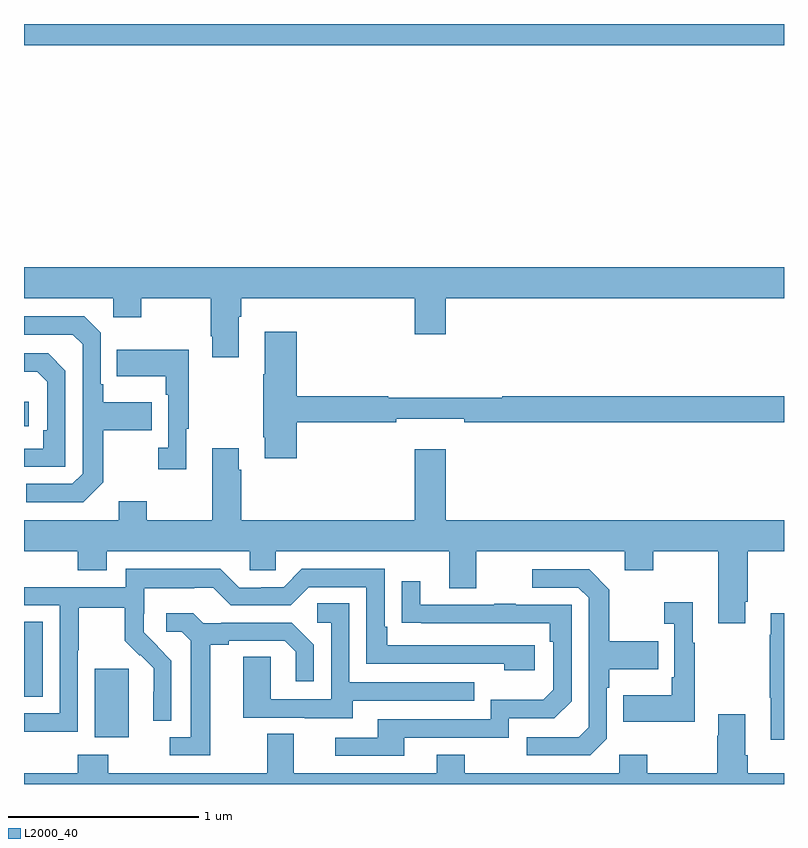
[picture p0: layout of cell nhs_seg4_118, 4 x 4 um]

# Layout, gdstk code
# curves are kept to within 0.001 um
import gdstk
lib = gdstk.Library(unit=1e-6, precision=1e-09)
def R(c, l, rs):  # rectangles x0, y0, x1, y1
    for r in rs: c.add(gdstk.rectangle(r[:2], r[2:], *l))
def P(c, l, *ps):  # polygons
    for p in ps: c.add(gdstk.Polygon(p, *l))
L2000_40 = (2000, 40)

nhs_seg4_118 = lib.new_cell('nhs_seg4_118')
R(nhs_seg4_118, L2000_40, [(115.373,825.146,115.552,825.507), (115,825.358,115.099,825.755), (115,826.782,115.024,826.912), (115,828.788,119,828.9)])
P(nhs_seg4_118, L2000_40, [(116.131,827.36),(116.144,827.36),(116.144,827.456),(117.056,827.456),(117.056,827.268),(117.22,827.268),(117.22,827.456),(119,827.456),(119,827.62),(115,827.62),(115,827.456),(115.47,827.456),(115.47,827.357),(115.617,827.357),(115.617,827.456),(115.984,827.456),(115.984,827.257),(115.991,827.257),(115.991,827.145),(116.131,827.145)],
  [(115.417,826.489),(115.417,826.762),(115.673,826.762),(115.673,826.909),(115.417,826.909),(115.417,827.005),(115.404,827.005),(115.404,827.274),(115.317,827.361),(115,827.361),(115,827.265),(115.257,827.265),(115.308,827.214),(115.308,826.533),(115.254,826.479),(115.011,826.479),(115.011,826.383),(115.311,826.383)],
  [(116.435,826.804),(116.96,826.804),(116.96,826.823),(117.316,826.823),(117.316,826.804),(119,826.804),(119,826.94),(117.518,826.94),(117.518,826.933),(116.918,826.933),(116.918,826.94),(116.435,826.94),(116.435,827.281),(116.267,827.281),(116.267,827.057),(116.26,827.057),(116.26,826.726),(116.267,826.726),(116.267,826.614),(116.435,826.614)],
  [(115.855,826.769),(115.867,826.769),(115.867,827.185),(115.489,827.185),(115.489,827.045),(115.746,827.045),(115.746,826.949),(115.758,826.949),(115.758,826.67),(115.707,826.67),(115.707,826.557),(115.855,826.557)],
  [(115.218,827.076),(115.128,827.166),(115,827.166),(115,827.069),(115.069,827.069),(115.122,827.016),(115.122,826.762),(115.102,826.762),(115.102,826.665),(115,826.665),(115,826.569),(115.218,826.569)],
  [(118.795,825.859),(118.808,825.859),(118.808,826.124),(119,826.124),(119,826.288),(117.22,826.288),(117.22,826.663),(117.056,826.663),(117.056,826.288),(116.144,826.288),(116.144,826.553),(116.131,826.553),(116.131,826.666),(115.991,826.666),(115.991,826.288),(115.647,826.288),(115.647,826.387),(115.499,826.387),(115.499,826.288),(115,826.288),(115,826.124),(115.283,826.124),(115.283,826.025),(115.435,826.025),(115.435,826.124),(116.187,826.124),(116.187,826.026),(116.325,826.026),(116.325,826.124),(117.239,826.124),(117.239,825.93),(117.379,825.93),(117.379,826.124),(118.163,826.124),(118.163,826.025),(118.311,826.025),(118.311,826.124),(118.655,826.124),(118.655,825.747),(118.795,825.747)],
  [(115.284,825.604),(115.287,825.604),(115.287,825.828),(115.531,825.828),(115.531,825.653),(115.608,825.576),(115.611,825.579),(115.682,825.509),(115.682,825.386),(115.68,825.386),(115.68,825.232),(115.776,825.232),(115.776,825.55),(115.63,825.698),(115.63,825.795),(115.632,825.795),(115.632,825.929),(115.895,825.929),(115.895,825.933),(115.995,825.933),(116.088,825.84),(116.403,825.84),(116.499,825.936),(116.802,825.936),(116.802,825.534),(117.527,825.534),(117.527,825.5),(117.688,825.5),(117.688,825.63),(116.911,825.63),(116.911,825.727),(116.898,825.727),(116.898,826.032),(116.463,826.032),(116.367,825.936),(116.249,825.936),(116.249,825.933),(116.133,825.933),(116.033,826.033),(115.536,826.033),(115.536,825.936),(115,825.936),(115,825.84),(115.188,825.84),(115.188,825.273),(115,825.273),(115,825.175),(115.284,825.175)],
  [(118.068,825.138),(118.068,825.407),(118.081,825.407),(118.081,825.503),(118.337,825.503),(118.337,825.651),(118.081,825.651),(118.081,825.923),(117.975,826.029),(117.675,826.029),(117.675,825.933),(117.918,825.933),(117.972,825.879),(117.972,825.198),(117.921,825.147),(117.645,825.147),(117.645,825.051),(117.981,825.051)],
  [(117.001,825.144),(117.552,825.144),(117.552,825.246),(117.792,825.246),(117.882,825.336),(117.882,825.843),(117.587,825.843),(117.587,825.848),(117.475,825.848),(117.475,825.843),(117.085,825.843),(117.085,825.967),(116.989,825.967),(116.989,825.748),(117.766,825.747),(117.766,825.65),(117.786,825.65),(117.786,825.396),(117.733,825.343),(117.456,825.343),(117.456,825.24),(116.861,825.24),(116.861,825.144),(116.637,825.144),(116.637,825.048),(117.001,825.048)],
  [(118.531,825.643),(118.519,825.643),(118.519,825.856),(118.371,825.856),(118.371,825.743),(118.422,825.743),(118.422,825.463),(118.41,825.463),(118.41,825.367),(118.153,825.367),(118.153,825.227),(118.531,825.227)],
  [(116.731,825.339),(117.371,825.339),(117.371,825.435),(116.712,825.435),(116.712,825.851),(116.544,825.851),(116.544,825.75),(116.616,825.75),(116.616,825.345),(116.298,825.345),(116.298,825.569),(116.153,825.569),(116.153,825.249),(116.477,825.249),(116.477,825.245),(116.731,825.245)],
  [(119,825.799),(118.931,825.799),(118.931,825.686),(118.924,825.686),(118.924,825.355),(118.931,825.355),(118.931,825.132),(119,825.132)],
  [(115.981,825.632),(116.077,825.632),(116.077,825.654),(116.372,825.654),(116.429,825.597),(116.429,825.441),(116.526,825.441),(116.526,825.634),(116.41,825.75),(116.038,825.75),(116.038,825.747),(115.944,825.747),(115.892,825.799),(115.749,825.799),(115.749,825.702),(115.83,825.702),(115.877,825.655),(115.877,825.147),(115.767,825.147),(115.767,825.051),(115.981,825.051)],
  [(119,824.956),(118.808,824.956),(118.808,825.052),(118.795,825.052),(118.795,825.268),(118.655,825.268),(118.655,825.155),(118.648,825.155),(118.648,824.956),(118.281,824.956),(118.281,825.055),(118.134,825.055),(118.134,824.956),(117.321,824.956),(117.321,825.055),(117.173,825.055),(117.173,824.956),(116.419,824.956),(116.419,825.164),(116.279,825.164),(116.279,824.956),(115.443,824.956),(115.443,825.055),(115.283,825.055),(115.283,824.956),(115,824.956),(115,824.9),(119,824.9)])

lib.write_gds('nhs_seg4_118.gds')
